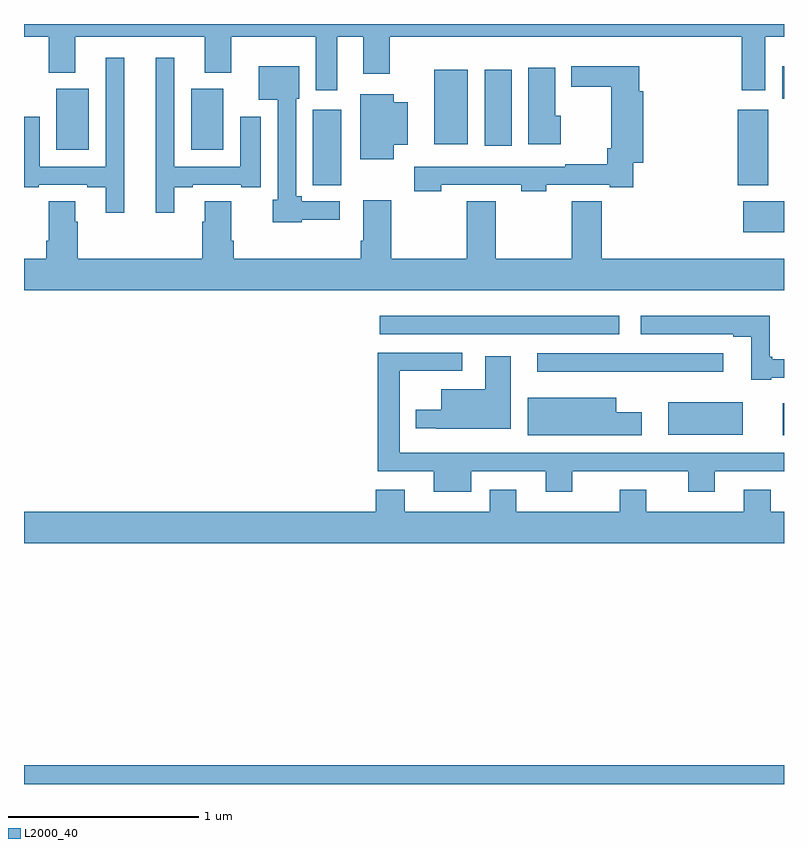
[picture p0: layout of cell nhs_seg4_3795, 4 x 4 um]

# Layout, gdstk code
import gdstk
lib = gdstk.Library(unit=1e-6, precision=1e-09)
def R(c, l, rs):  # rectangles x0, y0, x1, y1
    for r in rs: c.add(gdstk.rectangle(r[:2], r[2:], *l))
def P(c, l, *ps):  # polygons
    for p in ps: c.add(gdstk.Polygon(p, *l))
L2000_40 = (2000, 40)

nhs_seg4_3795 = lib.new_cell('nhs_seg4_3795')
R(nhs_seg4_3795, L2000_40, [(311,780.9,315,781), (314.993,782.735,315,782.905), (314.39,782.738,314.782,782.908), (313.701,783.071,314.68,783.168), (312.873,783.267,314.134,783.364), (314.786,783.803,315,783.966), (312.521,784.051,312.67,784.45), (314.756,784.052,314.917,784.45), (311.171,784.238,311.341,784.558), (311.879,784.238,312.049,784.558), (313.424,784.26,313.567,784.66), (313.16,784.268,313.336,784.66), (314.99,784.506,315,784.678)])
P(nhs_seg4_3795, L2000_40, [(312.649,784.832),(312.785,784.832),(312.785,784.638),(312.925,784.638),(312.925,784.832),(314.777,784.832),(314.777,784.551),(314.902,784.551),(314.902,784.832),(315,784.832),(315,784.9),(311,784.9),(311,784.832),(311.129,784.832),(311.129,784.643),(311.269,784.643),(311.269,784.832),(311.951,784.832),(311.951,784.643),(312.091,784.643),(312.091,784.832),(312.536,784.832),(312.536,784.551),(312.649,784.551)],
  [(311.527,784.723),(311.43,784.723),(311.43,784.149),(311.083,784.149),(311.083,784.411),(311,784.411),(311,784.041),(311.077,784.041),(311.077,784.053),(311.333,784.053),(311.333,784.041),(311.429,784.041),(311.429,783.906),(311.527,783.906)],
  [(311.791,784.041),(311.887,784.041),(311.887,784.053),(312.143,784.053),(312.143,784.041),(312.247,784.041),(312.247,784.411),(312.137,784.411),(312.137,784.149),(311.79,784.149),(311.79,784.723),(311.693,784.723),(311.693,783.906),(311.791,783.906)],
  [(312.462,783.869),(312.661,783.869),(312.661,783.966),(312.462,783.966),(312.462,783.994),(312.432,783.994),(312.432,784.506),(312.448,784.506),(312.448,784.678),(312.236,784.678),(312.236,784.502),(312.336,784.502),(312.336,783.975),(312.308,783.975),(312.308,783.857),(312.462,783.857)],
  [(313.197,784.053),(313.617,784.053),(313.617,784.021),(313.749,784.021),(313.749,784.053),(314.084,784.053),(314.084,784.041),(314.207,784.041),(314.207,784.169),(314.258,784.169),(314.258,784.545),(314.237,784.545),(314.237,784.678),(313.881,784.678),(313.881,784.569),(314.09,784.569),(314.09,784.246),(314.071,784.246),(314.071,784.162),(313.849,784.162),(313.849,784.149),(313.053,784.149),(313.053,784.021),(313.197,784.021)],
  [(313.825,784.416),(313.795,784.416),(313.795,784.669),(313.655,784.669),(313.655,784.268),(313.825,784.268)],
  [(312.946,784.265),(313.021,784.265),(313.021,784.489),(312.946,784.489),(312.946,784.531),(312.77,784.531),(312.77,784.187),(312.946,784.187)],
  [(313.33,783.968),(313.33,783.664),(312.933,783.664),(312.933,783.973),(312.785,783.973),(312.785,783.76),(312.773,783.76),(312.773,783.664),(312.104,783.664),(312.104,783.76),(312.091,783.76),(312.091,783.968),(311.951,783.968),(311.951,783.86),(311.939,783.86),(311.939,783.664),(311.282,783.664),(311.282,783.86),(311.269,783.86),(311.269,783.968),(311.129,783.968),(311.129,783.76),(311.117,783.76),(311.117,783.664),(311,783.664),(311,783.5),(315,783.5),(315,783.664),(314.042,783.664),(314.042,783.968),(313.882,783.968),(313.882,783.664),(313.484,783.664),(313.484,783.968)],
  [(314.932,783.038),(315,783.038),(315,783.136),(314.938,783.136),(314.938,783.148),(314.926,783.148),(314.926,783.364),(314.247,783.364),(314.247,783.267),(314.732,783.267),(314.732,783.255),(314.828,783.255),(314.828,783.027),(314.932,783.027)],
  [(313.354,782.547),(313.745,782.547),(313.745,782.438),(313.885,782.438),(313.885,782.547),(314.495,782.547),(314.495,782.438),(314.635,782.438),(314.635,782.547),(315,782.547),(315,782.643),(312.978,782.643),(312.978,783.074),(312.98,783.074),(312.98,783.075),(313.306,783.075),(313.306,783.171),(312.862,783.171),(312.862,782.547),(313.157,782.547),(313.157,782.438),(313.354,782.438)],
  [(313.561,783.151),(313.427,783.151),(313.427,782.977),(313.196,782.977),(313.196,782.87),(313.063,782.87),(313.063,782.773),(313.171,782.773),(313.171,782.771),(313.561,782.771)],
  [(314.251,782.857),(314.116,782.857),(314.116,782.932),(313.652,782.932),(313.652,782.735),(314.251,782.735)],
  [(315,782.332),(314.929,782.332),(314.929,782.449),(314.789,782.449),(314.789,782.332),(314.275,782.332),(314.275,782.449),(314.135,782.449),(314.135,782.332),(313.591,782.332),(313.591,782.449),(313.451,782.449),(313.451,782.332),(313.003,782.332),(313.003,782.449),(312.851,782.449),(312.851,782.332),(311,782.332),(311,782.168),(315,782.168)])

lib.write_gds('nhs_seg4_3795.gds')
